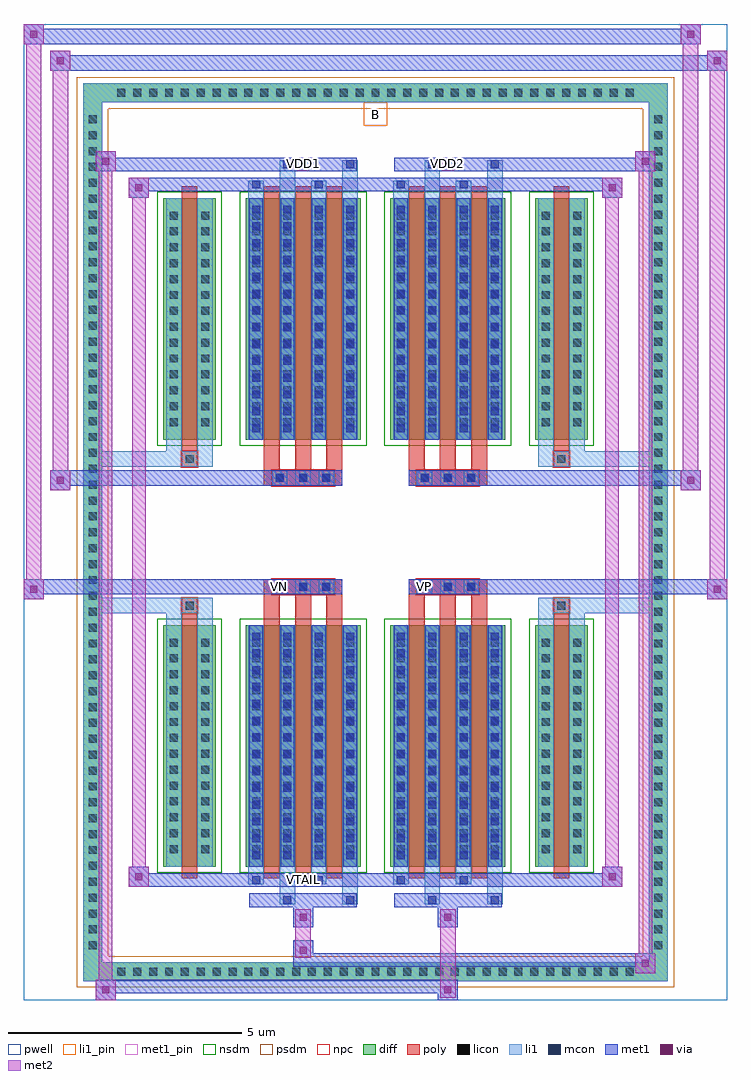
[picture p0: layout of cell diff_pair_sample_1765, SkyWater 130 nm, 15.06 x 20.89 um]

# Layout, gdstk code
import gdstk
lib = gdstk.Library(unit=1e-6, precision=5e-09)
def R(c, l, rs):  # rectangles x0, y0, x1, y1
    for r in rs: c.add(gdstk.rectangle(r[:2], r[2:], *l))
def A(c, l, x, y, w, h, nx, ny, dx, dy):  # array of equal rectangles
    R(c, l, [(x+i*dx, y+j*dy, x+i*dx+w, y+j*dy+h) for i in range(nx) for j in range(ny)])
def P(c, l, *ps):  # polygons
    for p in ps: c.add(gdstk.Polygon(p, *l))
pwell = (64, 44)
diff = (65, 20)
poly = (66, 20)
licon = (66, 44)
li1_pin = (67, 16)
li1 = (67, 20)
mcon = (67, 44)
met1_pin = (68, 16)
met1 = (68, 20)
via = (68, 44)
met2 = (69, 20)
nsdm = (93, 44)
psdm = (94, 20)
npc = (95, 20)

diff_pair_sample_1765 = lib.new_cell('diff_pair_sample_1765')
R(diff_pair_sample_1765, pwell, [(-7.53,-10.01,7.53,10.88), (-4.85,-8.2,-0.01,-0.8), (0.01,-8.2,4.85,-0.8), (-4.85,0.8,-0.01,8.2), (0.01,0.8,4.85,8.2)])
A(diff_pair_sample_1765, diff, -5.645, -9.61, 0.41, 0.41, 33, 2, 0.34, 18.81)
A(diff_pair_sample_1765, diff, -6.26, -9.045, 0.41, 0.41, 1, 53, 0, 0.34)
A(diff_pair_sample_1765, diff, 5.85, -9.045, 0.41, 0.41, 1, 53, 0, 0.34)
R(diff_pair_sample_1765, diff, [(-5.645,-9.61,5.645,-9.2), (-6.26,-9.045,-5.85,9.045), (5.85,-9.045,6.26,9.045), (-4.54,-7.155,-3.42,-1.985), (-2.78,-7.155,-0.32,-1.985), (0.32,-7.155,2.78,-1.985), (3.42,-7.155,4.54,-1.985), (-4.54,1.985,-3.42,7.155), (-2.78,1.985,-0.32,7.155), (0.32,1.985,2.78,7.155), (3.42,1.985,4.54,7.155), (-5.645,9.2,5.645,9.61)])
P(diff_pair_sample_1765, diff, [(6.26,9.61),(-6.26,9.61),(-6.26,-9.2),(-5.85,-9.2),(-5.85,9.2),(5.85,9.2),(5.85,-9.2),(-5.85,-9.2),(-6.26,-9.2),(-6.26,-9.61),(6.26,-9.61)])
A(diff_pair_sample_1765, poly, -2.39, -7.405, 0.34, 5.67, 3, 2, 0.67, 9.14)
A(diff_pair_sample_1765, poly, 0.71, -7.405, 0.34, 5.67, 3, 2, 0.67, 9.14)
A(diff_pair_sample_1765, poly, -2.39, -1.735, 0.34, 0.405, 3, 2, 0.67, 3.065)
A(diff_pair_sample_1765, poly, 0.71, -1.735, 0.34, 0.405, 3, 2, 0.67, 3.065)
A(diff_pair_sample_1765, poly, -2.215, -1.33, 0.33, 0.33, 3, 2, 0.5, 2.33)
A(diff_pair_sample_1765, poly, 0.885, -1.33, 0.33, 0.33, 3, 2, 0.5, 2.33)
R(diff_pair_sample_1765, poly, [(-4.15,-7.405,-3.81,-1.735), (3.81,-7.405,4.15,-1.735), (-4.145,-1.735,-3.815,-1.405), (-4.145,-1.735,-3.815,-1.405), (3.815,-1.735,4.145,-1.405), (3.815,-1.735,4.145,-1.405), (-2.39,-1.33,-0.71,-1), (0.71,-1.33,2.39,-1), (-2.39,1,-0.71,1.33), (0.71,1,2.39,1.33), (-4.145,1.405,-3.815,1.735), (-4.145,1.405,-3.815,1.735), (3.815,1.405,4.145,1.735), (3.815,1.405,4.145,1.735), (-4.15,1.735,-3.81,7.405), (3.81,1.735,4.15,7.405)])
A(diff_pair_sample_1765, licon, -5.525, -9.49, 0.17, 0.17, 33, 2, 0.34, 18.81)
A(diff_pair_sample_1765, licon, -6.14, -8.925, 0.17, 0.17, 1, 53, 0, 0.34)
A(diff_pair_sample_1765, licon, 5.97, -8.925, 0.17, 0.17, 1, 53, 0, 0.34)
A(diff_pair_sample_1765, licon, -4.4, -6.865, 0.17, 0.17, 1, 14, 0, 0.34)
A(diff_pair_sample_1765, licon, -3.73, -6.865, 0.17, 0.17, 1, 14, 0, 0.34)
A(diff_pair_sample_1765, licon, -2.64, -6.865, 0.17, 0.17, 4, 14, 0.67, 0.34)
A(diff_pair_sample_1765, licon, 0.46, -6.865, 0.17, 0.17, 4, 14, 0.67, 0.34)
A(diff_pair_sample_1765, licon, 3.56, -6.865, 0.17, 0.17, 1, 14, 0, 0.34)
A(diff_pair_sample_1765, licon, 4.23, -6.865, 0.17, 0.17, 1, 14, 0, 0.34)
A(diff_pair_sample_1765, licon, -2.135, -1.25, 0.17, 0.17, 3, 2, 0.5, 2.33)
A(diff_pair_sample_1765, licon, 0.965, -1.25, 0.17, 0.17, 3, 2, 0.5, 2.33)
A(diff_pair_sample_1765, licon, -4.4, 2.275, 0.17, 0.17, 1, 14, 0, 0.34)
A(diff_pair_sample_1765, licon, -3.73, 2.275, 0.17, 0.17, 1, 14, 0, 0.34)
A(diff_pair_sample_1765, licon, -2.64, 2.275, 0.17, 0.17, 4, 14, 0.67, 0.34)
A(diff_pair_sample_1765, licon, 0.46, 2.275, 0.17, 0.17, 4, 14, 0.67, 0.34)
A(diff_pair_sample_1765, licon, 3.56, 2.275, 0.17, 0.17, 1, 14, 0, 0.34)
A(diff_pair_sample_1765, licon, 4.23, 2.275, 0.17, 0.17, 1, 14, 0, 0.34)
R(diff_pair_sample_1765, licon, [(-4.065,-1.655,-3.895,-1.485), (3.895,-1.655,4.065,-1.485), (-4.065,1.485,-3.895,1.655), (3.895,1.485,4.065,1.655)])
R(diff_pair_sample_1765, li1_pin, [(-0.25,8.7,0.25,9.2)])
A(diff_pair_sample_1765, li1, -5.605, -9.57, 0.33, 0.33, 33, 2, 0.34, 18.81)
A(diff_pair_sample_1765, li1, -6.22, -9.005, 0.33, 0.33, 1, 53, 0, 0.34)
A(diff_pair_sample_1765, li1, 5.89, -9.005, 0.33, 0.33, 1, 53, 0, 0.34)
A(diff_pair_sample_1765, li1, -2.72, -7.155, 0.33, 5.17, 4, 2, 0.67, 9.14)
A(diff_pair_sample_1765, li1, 0.38, -7.155, 0.33, 5.17, 4, 2, 0.67, 9.14)
A(diff_pair_sample_1765, li1, -2.64, -6.995, 0.17, 0.17, 4, 14, 0.67, 0.36)
A(diff_pair_sample_1765, li1, -2.64, -6.995, 0.17, 4.85, 4, 2, 0.67, 9.14)
A(diff_pair_sample_1765, li1, 0.46, -6.995, 0.17, 0.17, 4, 14, 0.67, 0.36)
A(diff_pair_sample_1765, li1, 0.46, -6.995, 0.17, 4.85, 4, 2, 0.67, 9.14)
A(diff_pair_sample_1765, li1, -4.48, -6.945, 0.33, 0.33, 1, 14, 0, 0.34)
A(diff_pair_sample_1765, li1, -3.81, -6.945, 0.33, 0.33, 1, 14, 0, 0.34)
A(diff_pair_sample_1765, li1, -2.72, -6.945, 0.33, 0.33, 4, 14, 0.67, 0.34)
A(diff_pair_sample_1765, li1, 0.38, -6.945, 0.33, 0.33, 4, 14, 0.67, 0.34)
A(diff_pair_sample_1765, li1, 3.48, -6.945, 0.33, 0.33, 1, 14, 0, 0.34)
A(diff_pair_sample_1765, li1, 4.15, -6.945, 0.33, 0.33, 1, 14, 0, 0.34)
A(diff_pair_sample_1765, li1, -2.215, -1.33, 0.33, 0.33, 3, 2, 0.5, 2.33)
A(diff_pair_sample_1765, li1, 0.885, -1.33, 0.33, 0.33, 3, 2, 0.5, 2.33)
A(diff_pair_sample_1765, li1, -2.64, 2.145, 0.17, 0.17, 4, 14, 0.67, 0.36)
A(diff_pair_sample_1765, li1, 0.46, 2.145, 0.17, 0.17, 4, 14, 0.67, 0.36)
A(diff_pair_sample_1765, li1, -4.48, 2.195, 0.33, 0.33, 1, 14, 0, 0.34)
A(diff_pair_sample_1765, li1, -3.81, 2.195, 0.33, 0.33, 1, 14, 0, 0.34)
A(diff_pair_sample_1765, li1, -2.72, 2.195, 0.33, 0.33, 4, 14, 0.67, 0.34)
A(diff_pair_sample_1765, li1, 0.38, 2.195, 0.33, 0.33, 4, 14, 0.67, 0.34)
A(diff_pair_sample_1765, li1, 3.48, 2.195, 0.33, 0.33, 1, 14, 0, 0.34)
A(diff_pair_sample_1765, li1, 4.15, 2.195, 0.33, 0.33, 1, 14, 0, 0.34)
R(diff_pair_sample_1765, li1, [(-6.26,-9.61,-5.85,-9.2), (-6.26,-9.61,-5.85,-9.2), (-5.85,-9.61,5.85,-9.2), (5.85,-9.61,6.26,-9.2), (5.85,-9.61,6.26,-9.2), (-6.26,-9.2,-5.85,9.2), (5.85,-9.2,6.26,9.2), (-2.05,-7.96,-1.72,-7.155), (-1.97,-7.96,-1.8,-7.79), (-0.71,-7.96,-0.38,-7.155), (-0.63,-7.96,-0.46,-7.79), (1.05,-7.96,1.38,-7.155), (1.13,-7.96,1.3,-7.79), (2.39,-7.96,2.72,-7.155), (2.47,-7.96,2.64,-7.79), (-2.72,-7.53,-2.39,-7.155), (-2.64,-7.53,-2.47,-7.36), (-1.38,-7.53,-1.05,-7.155), (-1.3,-7.53,-1.13,-7.36), (0.38,-7.53,0.71,-7.155), (0.46,-7.53,0.63,-7.36), (1.72,-7.53,2.05,-7.155), (1.8,-7.53,1.97,-7.36), (-4.48,-7.155,-4.15,-1.985), (-3.81,-7.155,-3.48,-1.985), (3.48,-7.155,3.81,-1.985), (4.15,-7.155,4.48,-1.985), (-4.48,-1.985,-4.15,-1.405), (-3.81,-1.985,-3.48,-1.405), (3.48,-1.985,3.81,-1.405), (4.15,-1.985,4.48,-1.405), (-6.26,-1.735,-4.145,-1.405), (-4.48,-1.735,-4.145,-1.405), (-4.145,-1.735,-3.815,-1.405), (-3.815,-1.735,-3.48,-1.405), (3.48,-1.735,3.815,-1.405), (3.815,-1.735,4.145,-1.405), (3.815,-1.735,6.26,-1.405), (4.145,-1.735,4.48,-1.405), (-6.26,1.405,-4.145,1.735), (-4.48,1.405,-4.145,1.735), (-4.48,1.405,-4.15,1.985), (-4.145,1.405,-3.815,1.735), (-3.815,1.405,-3.48,1.735), (-3.81,1.405,-3.48,1.985), (3.48,1.405,3.815,1.735), (3.48,1.405,3.81,1.985), (3.815,1.405,4.145,1.735), (3.815,1.405,6.26,1.735), (4.145,1.405,4.48,1.735), (4.15,1.405,4.48,1.985), (-4.48,1.985,-4.15,7.155), (-3.81,1.985,-3.48,7.155), (3.48,1.985,3.81,7.155), (4.15,1.985,4.48,7.155), (-2.72,7.155,-2.39,7.53), (-2.05,7.155,-1.72,7.96), (-1.38,7.155,-1.05,7.53), (-0.71,7.155,-0.38,7.96), (0.38,7.155,0.71,7.53), (1.05,7.155,1.38,7.96), (1.72,7.155,2.05,7.53), (2.39,7.155,2.72,7.96), (-2.64,7.36,-2.47,7.53), (-1.3,7.36,-1.13,7.53), (0.46,7.36,0.63,7.53), (1.8,7.36,1.97,7.53), (-1.97,7.79,-1.8,7.96), (-0.63,7.79,-0.46,7.96), (1.13,7.79,1.3,7.96), (2.47,7.79,2.64,7.96), (-6.26,9.2,-5.85,9.61), (-6.26,9.2,-5.85,9.61), (-5.85,9.2,5.85,9.61), (5.85,9.2,6.26,9.61), (5.85,9.2,6.26,9.61)])
A(diff_pair_sample_1765, mcon, -2.64, -6.995, 0.17, 0.17, 4, 14, 0.67, 0.36)
A(diff_pair_sample_1765, mcon, 0.46, -6.995, 0.17, 0.17, 4, 14, 0.67, 0.36)
A(diff_pair_sample_1765, mcon, -2.135, -1.25, 0.17, 0.17, 3, 2, 0.5, 2.33)
A(diff_pair_sample_1765, mcon, 0.965, -1.25, 0.17, 0.17, 3, 2, 0.5, 2.33)
A(diff_pair_sample_1765, mcon, -2.64, 2.145, 0.17, 0.17, 4, 14, 0.67, 0.36)
A(diff_pair_sample_1765, mcon, 0.46, 2.145, 0.17, 0.17, 4, 14, 0.67, 0.36)
R(diff_pair_sample_1765, mcon, [(-1.97,-7.96,-1.8,-7.79), (-0.63,-7.96,-0.46,-7.79), (1.13,-7.96,1.3,-7.79), (2.47,-7.96,2.64,-7.79), (-2.64,-7.53,-2.47,-7.36), (-1.3,-7.53,-1.13,-7.36), (0.46,-7.53,0.63,-7.36), (1.8,-7.53,1.97,-7.36), (-2.64,7.36,-2.47,7.53), (-1.3,7.36,-1.13,7.53), (0.46,7.36,0.63,7.53), (1.8,7.36,1.97,7.53), (-1.97,7.79,-1.8,7.96), (-0.63,7.79,-0.46,7.96), (1.13,7.79,1.3,7.96), (2.47,7.79,2.64,7.96)])
R(diff_pair_sample_1765, met1_pin, [(-1.685,-7.57,-1.415,-7.3), (-2.185,-1.29,-1.915,-1.02), (0.915,-1.29,1.185,-1.02), (-1.685,7.75,-1.415,8.02), (1.415,7.75,1.685,8.02)])
A(diff_pair_sample_1765, met1, -2.7, -7.155, 0.29, 5.17, 4, 2, 0.67, 9.14)
A(diff_pair_sample_1765, met1, 0.4, -7.155, 0.29, 5.17, 4, 2, 0.67, 9.14)
A(diff_pair_sample_1765, met1, -2.7, -7.055, 0.29, 0.29, 4, 14, 0.67, 0.36)
A(diff_pair_sample_1765, met1, 0.4, -7.055, 0.29, 0.29, 4, 14, 0.67, 0.36)
A(diff_pair_sample_1765, met1, -2.195, -1.31, 0.29, 0.29, 3, 2, 0.5, 2.33)
A(diff_pair_sample_1765, met1, 0.905, -1.31, 0.29, 0.29, 3, 2, 0.5, 2.33)
A(diff_pair_sample_1765, met1, -2.7, 2.085, 0.29, 0.29, 4, 14, 0.67, 0.36)
A(diff_pair_sample_1765, met1, 0.4, 2.085, 0.29, 0.29, 4, 14, 0.67, 0.36)
R(diff_pair_sample_1765, met1, [(-5.99,-10.01,-5.56,-9.58), (1.335,-10.01,1.765,-9.58), (-5.99,-9.87,1.765,-9.58), (5.56,-9.44,5.99,-9.01), (-1.765,-9.3,5.99,-9.01), (-1.765,-9.16,-1.335,-8.73), (-1.765,-8.45,-1.335,-8.02), (1.335,-8.45,1.765,-8.02), (-2.7,-8.02,-0.4,-7.73), (-2.03,-8.02,-1.74,-7.73), (-0.69,-8.02,-0.4,-7.73), (0.4,-8.02,2.7,-7.73), (1.07,-8.02,1.36,-7.73), (2.41,-8.02,2.7,-7.73), (-5.28,-7.59,-4.85,-7.16), (-5.28,-7.59,-2.7,-7.3), (-2.7,-7.59,-2.41,-7.3), (-2.7,-7.59,-0.4,-7.3), (-1.36,-7.59,-1.07,-7.3), (-0.4,-7.59,0.4,-7.3), (0.4,-7.59,0.69,-7.3), (0.4,-7.59,2.7,-7.3), (1.74,-7.59,2.03,-7.3), (2.7,-7.59,5.28,-7.3), (4.85,-7.59,5.28,-7.16), (-7.53,-1.43,-7.1,-1), (7.1,-1.43,7.53,-1), (-7.53,-1.33,-0.71,-1), (-2.39,-1.33,-0.71,-1), (0.71,-1.33,2.39,-1), (0.71,-1.33,7.53,-1), (-6.96,0.9,-6.53,1.33), (6.53,0.9,6.96,1.33), (-6.96,1,-2.39,1.33), (-2.39,1,-0.71,1.33), (0.71,1,2.39,1.33), (2.39,1,6.96,1.33), (-5.28,7.16,-4.85,7.59), (4.85,7.16,5.28,7.59), (-5.28,7.3,-2.7,7.59), (-2.7,7.3,-2.41,7.59), (-2.7,7.3,-0.4,7.59), (-1.36,7.3,-1.07,7.59), (-0.4,7.3,0.4,7.59), (0.4,7.3,0.69,7.59), (0.4,7.3,2.7,7.59), (1.74,7.3,2.03,7.59), (2.7,7.3,5.28,7.59), (-5.99,7.73,-5.56,8.16), (-5.99,7.73,-2.7,8.02), (-2.7,7.73,-0.4,8.02), (-2.03,7.73,-1.74,8.02), (-0.69,7.73,-0.4,8.02), (0.4,7.73,2.7,8.02), (1.07,7.73,1.36,8.02), (2.41,7.73,2.7,8.02), (2.7,7.73,5.99,8.02), (5.56,7.73,5.99,8.16), (-6.96,9.88,-6.53,10.31), (-6.96,9.88,-4.85,10.21), (-4.85,9.88,4.85,10.21), (4.85,9.88,7.53,10.21), (7.1,9.88,7.53,10.31), (-7.53,10.45,-7.1,10.88), (-7.53,10.45,-4.85,10.78), (-4.85,10.45,4.85,10.78), (4.85,10.45,6.96,10.78), (6.53,10.45,6.96,10.88)])
R(diff_pair_sample_1765, via, [(-5.85,-9.87,-5.7,-9.72), (1.475,-9.87,1.625,-9.72), (5.7,-9.3,5.85,-9.15), (-1.625,-9.02,-1.475,-8.87), (-1.625,-8.31,-1.475,-8.16), (1.475,-8.31,1.625,-8.16), (-5.14,-7.45,-4.99,-7.3), (4.99,-7.45,5.14,-7.3), (-7.39,-1.29,-7.24,-1.14), (7.24,-1.29,7.39,-1.14), (-6.82,1.04,-6.67,1.19), (6.67,1.04,6.82,1.19), (-5.14,7.3,-4.99,7.45), (4.99,7.3,5.14,7.45), (-5.85,7.87,-5.7,8.02), (5.7,7.87,5.85,8.02), (-6.82,10.02,-6.67,10.17), (7.24,10.02,7.39,10.17), (-7.39,10.59,-7.24,10.74), (6.67,10.59,6.82,10.74)])
R(diff_pair_sample_1765, met2, [(-5.99,-10.01,-5.56,-9.58), (-5.92,-10.01,-5.63,8.16), (-5.63,-10.01,-5.56,-9.58), (-5.94,-9.96,-5.61,-9.63), (1.385,-9.96,1.715,-9.63), (1.385,-9.63,1.715,-8.4), (5.56,-9.44,5.99,-9.01), (5.63,-9.44,5.92,8.16), (5.92,-9.44,5.99,-9.01), (5.61,-9.39,5.94,-9.06), (-1.715,-9.11,-1.385,-8.78), (-1.715,-8.78,-1.385,-8.4), (-1.715,-8.4,-1.385,-8.07), (1.385,-8.4,1.715,-8.07), (-5.28,-7.59,-4.85,-7.16), (-5.21,-7.59,-4.92,7.59), (-4.92,-7.59,-4.85,-7.16), (4.85,-7.59,5.28,-7.16), (4.92,-7.59,5.21,7.59), (5.21,-7.59,5.28,-7.16), (-5.23,-7.54,-4.9,-7.21), (4.9,-7.54,5.23,-7.21), (-7.53,-1.43,-7.1,-1), (-7.48,-1.43,-7.15,10.88), (-7.15,-1.43,-7.1,-1), (7.1,-1.43,7.53,-1), (7.15,-1.43,7.48,10.31), (7.48,-1.43,7.53,-1), (-7.48,-1.38,-7.15,-1.05), (7.15,-1.38,7.48,-1.05), (-6.96,0.9,-6.53,1.33), (-6.91,0.9,-6.58,10.31), (-6.58,0.9,-6.53,1.33), (6.53,0.9,6.96,1.33), (6.58,0.9,6.91,10.88), (6.91,0.9,6.96,1.33), (-6.91,0.95,-6.58,1.28), (6.58,0.95,6.91,1.28), (-5.28,7.16,-4.85,7.59), (-4.92,7.16,-4.85,7.59), (4.85,7.16,5.28,7.59), (5.21,7.16,5.28,7.59), (-5.23,7.21,-4.9,7.54), (4.9,7.21,5.23,7.54), (-5.99,7.73,-5.56,8.16), (-5.63,7.73,-5.56,8.16), (5.56,7.73,5.99,8.16), (5.92,7.73,5.99,8.16), (-5.94,7.78,-5.61,8.11), (5.61,7.78,5.94,8.11), (-6.96,9.88,-6.53,10.31), (-6.58,9.88,-6.53,10.31), (7.1,9.88,7.53,10.31), (7.48,9.88,7.53,10.31), (-6.91,9.93,-6.58,10.26), (7.15,9.93,7.48,10.26), (-7.53,10.45,-7.1,10.88), (-7.15,10.45,-7.1,10.88), (6.53,10.45,6.96,10.88), (6.91,10.45,6.96,10.88), (-7.48,10.5,-7.15,10.83), (6.58,10.5,6.91,10.83)])
R(diff_pair_sample_1765, nsdm, [(-4.67,-7.285,-3.29,-1.855), (-2.91,-7.285,-0.19,-1.855), (0.19,-7.285,2.91,-1.855), (3.29,-7.285,4.67,-1.855), (-4.67,1.855,-3.29,7.285), (-2.91,1.855,-0.19,7.285), (0.19,1.855,2.91,7.285), (3.29,1.855,4.67,7.285)])
P(diff_pair_sample_1765, psdm, [(6.39,9.74),(-6.39,9.74),(-6.39,-9.07),(-5.72,-9.07),(-5.72,9.07),(5.72,9.07),(5.72,-9.07),(-5.72,-9.07),(-6.39,-9.07),(-6.39,-9.74),(6.39,-9.74)])
A(diff_pair_sample_1765, npc, -2.235, -1.35, 0.37, 0.37, 3, 2, 0.5, 2.33)
A(diff_pair_sample_1765, npc, 0.865, -1.35, 0.37, 0.37, 3, 2, 0.5, 2.33)
R(diff_pair_sample_1765, npc, [(-4.165,-1.755,-3.795,-1.385), (3.795,-1.755,4.165,-1.385), (-2.235,-1.35,-1.365,-0.98), (-2.235,-1.35,-1.365,-0.98), (-1.735,-1.35,-0.865,-0.98), (-1.735,-1.35,-0.865,-0.98), (0.865,-1.35,1.735,-0.98), (0.865,-1.35,1.735,-0.98), (1.365,-1.35,2.235,-0.98), (1.365,-1.35,2.235,-0.98), (-2.235,0.98,-1.365,1.35), (-2.235,0.98,-1.365,1.35), (-1.735,0.98,-0.865,1.35), (-1.735,0.98,-0.865,1.35), (0.865,0.98,1.735,1.35), (0.865,0.98,1.735,1.35), (1.365,0.98,2.235,1.35), (1.365,0.98,2.235,1.35), (-4.165,1.385,-3.795,1.755), (3.795,1.385,4.165,1.755)])
diff_pair_sample_1765.add(gdstk.Label('VTAIL', (-1.55,-7.435), layer=68, texttype=5))
diff_pair_sample_1765.add(gdstk.Label('VN', (-2.05,-1.155), layer=68, texttype=5))
diff_pair_sample_1765.add(gdstk.Label('VP', (1.05,-1.155), layer=68, texttype=5))
diff_pair_sample_1765.add(gdstk.Label('B', (0,8.95), layer=67, texttype=5))
diff_pair_sample_1765.add(gdstk.Label('VDD2', (1.55,7.885), layer=68, texttype=5))
diff_pair_sample_1765.add(gdstk.Label('VDD1', (-1.55,7.885), layer=68, texttype=5))

lib.write_gds('diff_pair_sample_1765.gds')
